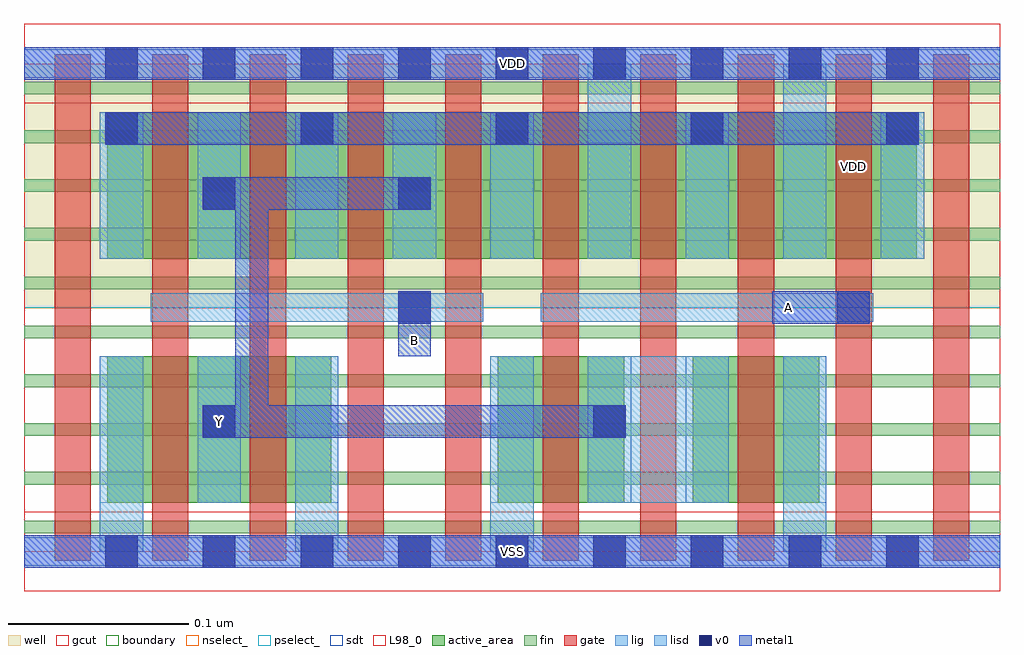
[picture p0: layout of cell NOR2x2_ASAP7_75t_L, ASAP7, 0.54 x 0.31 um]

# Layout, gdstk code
import gdstk
lib = gdstk.Library(unit=1e-6, precision=2.5e-10)
def R(c, l, rs):  # rectangles x0, y0, x1, y1
    for r in rs: c.add(gdstk.rectangle(r[:2], r[2:], *l))
def A(c, l, x, y, w, h, nx, ny, dx, dy):  # array of equal rectangles
    R(c, l, [(x+i*dx, y+j*dy, x+i*dx+w, y+j*dy+h) for i in range(nx) for j in range(ny)])
def P(c, l, *ps):  # polygons
    for p in ps: c.add(gdstk.Polygon(p, *l))
well = (1, 0)
fin = (2, 0)
gate = (7, 0)
gcut = (10, 0)
active_area = (11, 0)
nselect_ = (12, 0)
pselect_ = (13, 0)
lig = (16, 0)
lisd = (17, 0)
v0 = (18, 0)
metal1 = (19, 0)
sdt = (88, 0)
L98_0 = (98, 0)
boundary = (100, 0)

nor2x2_asap7_75t_l = lib.new_cell('NOR2x2_ASAP7_75t_L')
R(nor2x2_asap7_75t_l, well, [(0,0.135,0.54,0.27)])
A(nor2x2_asap7_75t_l, fin, 0, 0.01, 0.54, 0.007, 1, 10, 0, 0.027)
A(nor2x2_asap7_75t_l, gate, 0.017, -0.005, 0.02, 0.28, 10, 1, 0.054, 0)
R(nor2x2_asap7_75t_l, gcut, [(0,-0.022,0.54,0.022), (0,0.248,0.54,0.292)])
R(nor2x2_asap7_75t_l, active_area, [(0.046,0.027,0.17,0.108), (0.262,0.027,0.332,0.108), (0.37,0.027,0.44,0.108), (0.046,0.162,0.494,0.243)])
R(nor2x2_asap7_75t_l, nselect_, [(0,0,0.54,0.135)])
R(nor2x2_asap7_75t_l, pselect_, [(0,0.135,0.54,0.27)])
R(nor2x2_asap7_75t_l, lig, [(0,-0.008,0.54,0.008), (0.07,0.127,0.254,0.143), (0.286,0.127,0.47,0.143), (0,0.262,0.54,0.278)])
A(nor2x2_asap7_75t_l, lisd, 0.042, 0, 0.024, 0.108, 3, 1, 0.108, 0)
A(nor2x2_asap7_75t_l, lisd, 0.042, 0.162, 0.024, 0.081, 5, 1, 0.054, 0)
R(nor2x2_asap7_75t_l, lisd, [(0.42,0,0.444,0.108), (0.096,0.027,0.12,0.108), (0.312,0.027,0.39,0.108), (0.312,0.162,0.336,0.27), (0.366,0.162,0.39,0.243), (0.42,0.162,0.444,0.27), (0.474,0.162,0.498,0.243)])
A(nor2x2_asap7_75t_l, v0, 0.045, -0.009, 0.018, 0.018, 9, 2, 0.054, 0.27)
A(nor2x2_asap7_75t_l, v0, 0.045, 0.225, 0.018, 0.018, 5, 1, 0.108, 0)
R(nor2x2_asap7_75t_l, v0, [(0.099,0.063,0.117,0.081), (0.315,0.063,0.333,0.081), (0.207,0.126,0.225,0.144), (0.45,0.126,0.468,0.144), (0.099,0.189,0.117,0.207), (0.207,0.189,0.225,0.207)])
R(nor2x2_asap7_75t_l, metal1, [(0,-0.009,0.54,0.009), (0.207,0.108,0.225,0.144), (0.414,0.126,0.468,0.144), (0.045,0.225,0.495,0.243), (0,0.261,0.54,0.279)])
P(nor2x2_asap7_75t_l, metal1, [(0.333,0.081),(0.135,0.081),(0.135,0.189),(0.225,0.189),(0.225,0.207),(0.099,0.207),(0.099,0.189),(0.117,0.189),(0.117,0.081),(0.099,0.081),(0.099,0.063),(0.333,0.063)])
A(nor2x2_asap7_75t_l, sdt, 0.042, 0.027, 0.024, 0.081, 3, 1, 0.054, 0)
A(nor2x2_asap7_75t_l, sdt, 0.258, 0.027, 0.024, 0.081, 4, 1, 0.054, 0)
A(nor2x2_asap7_75t_l, sdt, 0.042, 0.162, 0.024, 0.081, 9, 1, 0.054, 0)
R(nor2x2_asap7_75t_l, L98_0, [(0,0,0.54,0.27)])
R(nor2x2_asap7_75t_l, boundary, [(0,0,0.54,0.27)])
nor2x2_asap7_75t_l.add(gdstk.Label('Y', (0.108,0.072), layer=19, texttype=251))
nor2x2_asap7_75t_l.add(gdstk.Label('B', (0.216,0.117), layer=19, texttype=251))
nor2x2_asap7_75t_l.add(gdstk.Label('A', (0.423,0.135), layer=19, texttype=251))
nor2x2_asap7_75t_l.add(gdstk.Label('VSS', (0.27,0), layer=19, texttype=251))
nor2x2_asap7_75t_l.add(gdstk.Label('VDD', (0.27,0.27), layer=19, texttype=251))
nor2x2_asap7_75t_l.add(gdstk.Label('VDD', (0.459,0.213), layer=1, texttype=251))
nor2x2_asap7_75t_l.add(gdstk.Label('VSS', (0.621,0.213), layer=3, texttype=251))

lib.write_gds('NOR2x2_ASAP7_75t_L.gds')
